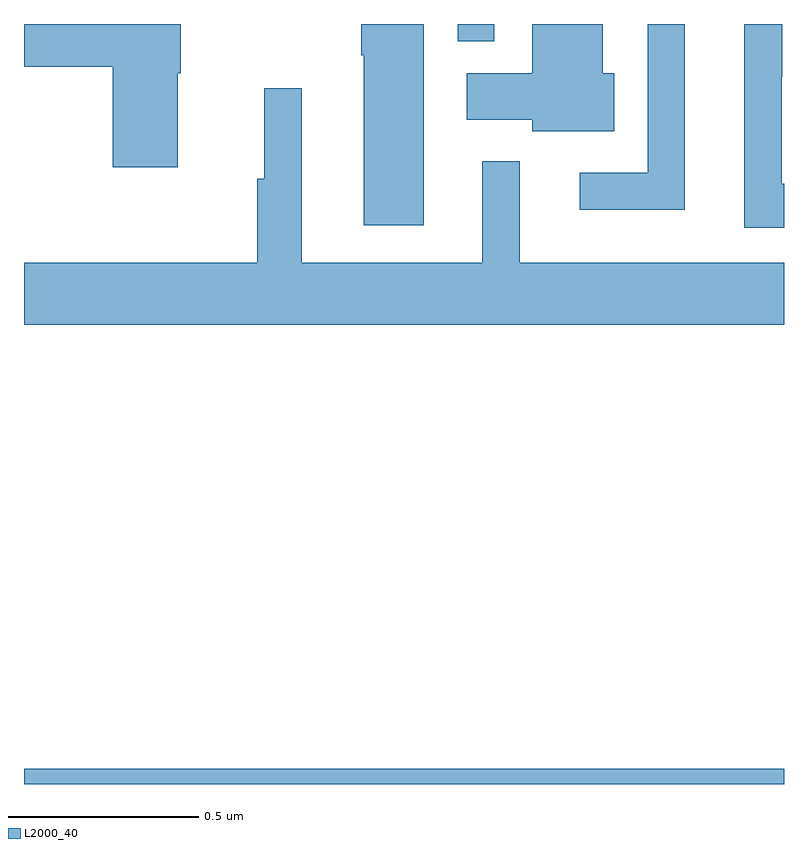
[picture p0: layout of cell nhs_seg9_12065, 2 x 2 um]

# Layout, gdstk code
import gdstk
lib = gdstk.Library(unit=1e-6, precision=1e-09)
def R(c, l, rs):  # rectangles x0, y0, x1, y1
    for r in rs: c.add(gdstk.rectangle(r[:2], r[2:], *l))
def P(c, l, *ps):  # polygons
    for p in ps: c.add(gdstk.Polygon(p, *l))
L2000_40 = (2000, 40)

nhs_seg9_12065 = lib.new_cell('nhs_seg9_12065')
R(nhs_seg9_12065, L2000_40, [(263,1240.5,265,1240.54), (264.141,1242.455,264.237,1242.5)])
P(nhs_seg9_12065, L2000_40, [(263.404,1242.371),(263.412,1242.371),(263.412,1242.5),(263,1242.5),(263,1242.388),(263.234,1242.388),(263.234,1242.123),(263.404,1242.123)],
  [(264.553,1242.37),(264.523,1242.37),(264.523,1242.5),(264.338,1242.5),(264.338,1242.37),(264.165,1242.37),(264.165,1242.248),(264.338,1242.248),(264.338,1242.218),(264.553,1242.218)],
  [(264.052,1242.5),(263.887,1242.5),(263.887,1242.418),(263.894,1242.418),(263.894,1241.97),(264.052,1241.97)],
  [(265,1242.08),(264.994,1242.08),(264.994,1242.361),(264.995,1242.361),(264.995,1242.5),(264.896,1242.5),(264.896,1241.964),(265,1241.964)],
  [(264.739,1242.5),(264.642,1242.5),(264.642,1242.108),(264.462,1242.108),(264.462,1242.011),(264.739,1242.011)],
  [(265,1241.872),(264.304,1241.872),(264.304,1242.139),(264.206,1242.139),(264.206,1241.872),(263.731,1241.872),(263.731,1242.331),(263.632,1242.331),(263.632,1242.093),(263.614,1242.093),(263.614,1241.872),(263,1241.872),(263,1241.708),(265,1241.708)])

lib.write_gds('nhs_seg9_12065.gds')
